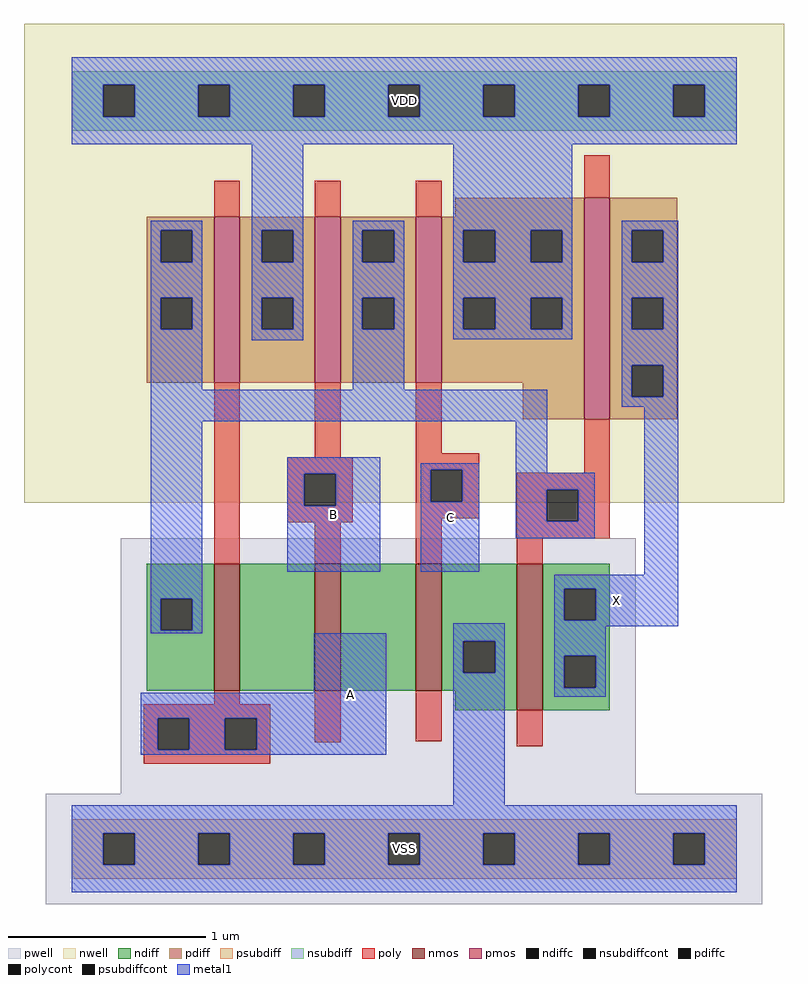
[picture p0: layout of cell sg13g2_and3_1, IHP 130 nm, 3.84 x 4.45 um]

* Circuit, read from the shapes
.subckt sg13g2_and3_1 X B VDD VSS C A
XM1 n1 A n2 VSS sg13_lv_nmos w=0.64u l=0.13u
XM2 n3 B n1 VSS sg13_lv_nmos w=0.64u l=0.13u
XM3 VSS C n3 VSS sg13_lv_nmos w=0.64u l=0.13u
XM4 X n2 VSS VSS sg13_lv_nmos w=0.74u l=0.13u
XM5 VDD A n2 VDD sg13_lv_pmos w=0.84u l=0.13u
XM6 n2 B VDD VDD sg13_lv_pmos w=0.84u l=0.13u
XM7 VDD C n2 VDD sg13_lv_pmos w=0.84u l=0.13u
XM8 X n2 VDD VDD sg13_lv_pmos w=1.12u l=0.13u
.ends

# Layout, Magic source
magic
tech ihp-sg13g2
magscale 1 2
<< nwell >>
rect -48 350 720 834
<< pwell >>
rect 50 56 570 314
rect -26 -56 698 56
<< nmos >>
rect 144 160 170 288
rect 246 160 272 288
rect 348 160 374 288
rect 450 140 476 288
<< pmos >>
rect 144 471 170 639
rect 246 471 272 639
rect 348 471 374 639
rect 518 434 544 658
<< ndiff >>
rect 76 253 144 288
rect 76 221 90 253
rect 122 221 144 253
rect 76 160 144 221
rect 170 160 246 288
rect 272 160 348 288
rect 374 210 450 288
rect 374 178 396 210
rect 428 178 450 210
rect 374 160 450 178
rect 388 140 450 160
rect 476 263 544 288
rect 476 231 498 263
rect 530 231 544 263
rect 476 195 544 231
rect 476 163 498 195
rect 530 163 544 195
rect 476 140 544 163
<< pdiff >>
rect 388 639 518 658
rect 76 625 144 639
rect 76 593 90 625
rect 122 593 144 625
rect 76 557 144 593
rect 76 525 90 557
rect 122 525 144 557
rect 76 471 144 525
rect 170 625 246 639
rect 170 593 192 625
rect 224 593 246 625
rect 170 557 246 593
rect 170 525 192 557
rect 224 525 246 557
rect 170 471 246 525
rect 272 625 348 639
rect 272 593 294 625
rect 326 593 348 625
rect 272 557 348 593
rect 272 525 294 557
rect 326 525 348 557
rect 272 471 348 525
rect 374 625 518 639
rect 374 593 396 625
rect 428 593 464 625
rect 496 593 518 625
rect 374 557 518 593
rect 374 525 396 557
rect 428 525 464 557
rect 496 525 518 557
rect 374 471 518 525
rect 456 434 518 471
rect 544 625 612 658
rect 544 593 566 625
rect 598 593 612 625
rect 544 557 612 593
rect 544 525 566 557
rect 598 525 612 557
rect 544 489 612 525
rect 544 457 566 489
rect 598 457 612 489
rect 544 434 612 457
<< ndiffc >>
rect 90 221 122 253
rect 396 178 428 210
rect 498 231 530 263
rect 498 163 530 195
<< pdiffc >>
rect 90 593 122 625
rect 90 525 122 557
rect 192 593 224 625
rect 192 525 224 557
rect 294 593 326 625
rect 294 525 326 557
rect 396 593 428 625
rect 464 593 496 625
rect 396 525 428 557
rect 464 525 496 557
rect 566 593 598 625
rect 566 525 598 557
rect 566 457 598 489
<< psubdiff >>
rect 0 16 672 30
rect 0 -16 32 16
rect 64 -16 128 16
rect 160 -16 224 16
rect 256 -16 320 16
rect 352 -16 416 16
rect 448 -16 512 16
rect 544 -16 608 16
rect 640 -16 672 16
rect 0 -30 672 -16
<< nsubdiff >>
rect 0 772 672 786
rect 0 740 32 772
rect 64 740 128 772
rect 160 740 224 772
rect 256 740 320 772
rect 352 740 416 772
rect 448 740 512 772
rect 544 740 608 772
rect 640 740 672 772
rect 0 726 672 740
<< psubdiffcont >>
rect 32 -16 64 16
rect 128 -16 160 16
rect 224 -16 256 16
rect 320 -16 352 16
rect 416 -16 448 16
rect 512 -16 544 16
rect 608 -16 640 16
<< nsubdiffcont >>
rect 32 740 64 772
rect 128 740 160 772
rect 224 740 256 772
rect 320 740 352 772
rect 416 740 448 772
rect 512 740 544 772
rect 608 740 640 772
<< poly >>
rect 144 639 170 675
rect 246 639 272 675
rect 348 639 374 675
rect 518 658 544 701
rect 144 288 170 471
rect 246 396 272 471
rect 348 400 374 471
rect 218 379 284 396
rect 218 347 235 379
rect 267 347 284 379
rect 218 330 284 347
rect 348 383 412 400
rect 348 351 363 383
rect 395 351 412 383
rect 518 380 544 434
rect 348 334 412 351
rect 450 363 544 380
rect 246 288 272 330
rect 348 288 374 334
rect 450 331 480 363
rect 512 331 544 363
rect 450 314 544 331
rect 450 288 476 314
rect 144 146 170 160
rect 73 132 201 146
rect 73 100 87 132
rect 119 100 155 132
rect 187 100 201 132
rect 246 108 272 160
rect 348 109 374 160
rect 450 104 476 140
rect 73 86 201 100
<< polycont >>
rect 235 347 267 379
rect 363 351 395 383
rect 480 331 512 363
rect 87 100 119 132
rect 155 100 187 132
<< metal1 >>
rect 0 772 672 800
rect 0 740 32 772
rect 64 740 128 772
rect 160 740 224 772
rect 256 740 320 772
rect 352 740 416 772
rect 448 740 512 772
rect 544 740 608 772
rect 640 740 672 772
rect 0 712 672 740
rect 80 625 132 635
rect 80 593 90 625
rect 122 593 132 625
rect 80 557 132 593
rect 80 525 90 557
rect 122 525 132 557
rect 80 464 132 525
rect 182 625 234 712
rect 182 593 192 625
rect 224 593 234 625
rect 182 557 234 593
rect 182 525 192 557
rect 224 525 234 557
rect 182 514 234 525
rect 284 625 336 635
rect 284 593 294 625
rect 326 593 336 625
rect 284 557 336 593
rect 284 525 294 557
rect 326 525 336 557
rect 284 464 336 525
rect 386 625 506 712
rect 386 593 396 625
rect 428 593 464 625
rect 496 593 506 625
rect 386 557 506 593
rect 386 525 396 557
rect 428 525 464 557
rect 496 525 506 557
rect 386 515 506 525
rect 556 625 613 635
rect 556 593 566 625
rect 598 593 613 625
rect 556 557 613 593
rect 556 525 566 557
rect 598 525 613 557
rect 556 489 613 525
rect 80 432 481 464
rect 556 457 566 489
rect 598 457 613 489
rect 556 447 613 457
rect 80 253 132 432
rect 218 379 312 396
rect 218 347 235 379
rect 267 347 312 379
rect 218 280 312 347
rect 353 383 412 390
rect 353 351 363 383
rect 395 351 412 383
rect 353 280 412 351
rect 449 380 481 432
rect 449 363 529 380
rect 449 331 480 363
rect 512 331 529 363
rect 449 314 529 331
rect 579 277 613 447
rect 80 221 90 253
rect 122 221 132 253
rect 488 263 613 277
rect 488 231 498 263
rect 530 231 613 263
rect 80 218 132 221
rect 245 158 318 218
rect 70 132 318 158
rect 70 100 87 132
rect 119 100 155 132
rect 187 100 318 132
rect 70 95 318 100
rect 386 210 438 228
rect 386 178 396 210
rect 428 178 438 210
rect 386 44 438 178
rect 488 225 613 231
rect 488 195 540 225
rect 488 163 498 195
rect 530 163 540 195
rect 488 154 540 163
rect 0 16 672 44
rect 0 -16 32 16
rect 64 -16 128 16
rect 160 -16 224 16
rect 256 -16 320 16
rect 352 -16 416 16
rect 448 -16 512 16
rect 544 -16 608 16
rect 640 -16 672 16
rect 0 -44 672 -16
<< labels >>
flabel metal1 s 488 225 613 277 0 FreeSans 400 0 0 0 X
port 2 nsew
flabel metal1 s 218 280 312 396 0 FreeSans 400 0 0 0 B
port 3 nsew
flabel metal1 s 0 712 672 800 0 FreeSans 400 0 0 0 VDD
port 4 nsew
flabel metal1 s 0 -44 672 44 0 FreeSans 400 0 0 0 VSS
port 5 nsew
flabel metal1 s 353 280 412 390 0 FreeSans 400 0 0 0 C
port 6 nsew
flabel metal1 s 245 95 318 218 0 FreeSans 400 0 0 0 A
port 7 nsew
<< properties >>
string FIXED_BBOX 0 0 672 756
<< end >>
